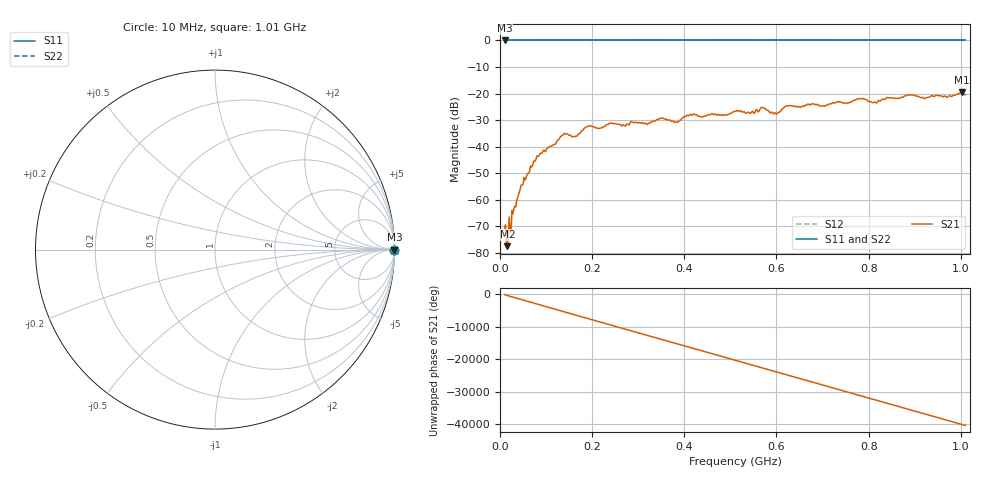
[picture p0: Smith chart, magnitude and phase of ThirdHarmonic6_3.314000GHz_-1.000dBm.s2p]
! 8/17/2025 10:22:04 AM
! C:\ANRITSUVNA\TEMP\TEMP.S2P
! CHANNEL.1
! TR.MEASUREMENT
! RAW.DATA
! RF.CORRECTION.OFF
! AVERAGING.OFF
! IF.BANDWIDTH: 5KHZ
! SWEEPTYPE:  FREQ.SWEEP(Linear)
! Reference Plane Port Info
! PORT:  PORT1  PORT2
! DISTANCE:  0  m  0  m
! TIME:  0  s  0  s
! PHASE.OFFSET:  0  deg.  0  deg.
! LOSS:  0  dB  0  dB
! REF.LOSS:  0  dB  0  dB
! REF.FREQ:  0  Hz  0  Hz
! Power Info
! POWER:  -20  dBm  -20  dBm
! EFF.POWER:  -20  dBm  -20  dBm
! SOURCE.ATTEN:  0  dB  0  dB
! TEST.ATTEN:  0  dB  0  dB
# GHZ S RI R 50.0
! FREQ.GHZ  S11RE  S11IM  S21RE  S21IM  S12RE  S12IM  S22RE  S22IM
!; PortSelection: Port_12
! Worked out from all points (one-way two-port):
!   501 points, 10 MHz to 1.01 GHz, reference 50 ohm
!   highest |S21| = -19.53 dB at 1.002 GHz (marker M1); lowest = -77.4 dB at 16 MHz (marker M2)
!   lowest |S11| = 0.0 dB at 10 MHz (marker M3)
!   |S11| at or under -10 dB: nowhere
!   |S22| runs from 0.0 to 0.0 dB; largest |S21 - S12| = 1.1
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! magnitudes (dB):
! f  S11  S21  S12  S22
! 10 MHz  0.0  -70.5  0.0  0.0
! 16 MHz  0.0  -77.4  0.0  0.0
! 20 MHz  0.0  -66.4  0.0  0.0
! 30 MHz  0.0  -63.5  0.0  0.0
! 48 MHz  0.0  -54.4  0.0  0.0
! 78 MHz  0.0  -44.8  0.0  0.0
! 136 MHz  0.0  -35.7  0.0  0.0
! 164 MHz  0.0  -36.1  0.0  0.0
! 178 MHz  0.0  -33.9  0.0  0.0
! 344 MHz  0.0  -29.7  0.0  0.0
! 382 MHz  0.0  -30.7  0.0  0.0
! 416 MHz  0.0  -28.1  0.0  0.0
! 510 MHz  0.0  -26.7  0.0  0.0
! 570 MHz  0.0  -25.3  0.0  0.0
! 598 MHz  0.0  -27.5  0.0  0.0
! 624 MHz  0.0  -24.6  0.0  0.0
! 678 MHz  0.0  -23.8  0.0  0.0
! 782 MHz  0.0  -21.9  0.0  0.0
! 814 MHz  0.0  -23.2  0.0  0.0
! 844 MHz  0.0  -21.6  0.0  0.0
! 1.002 GHz  0.0  -19.5  0.0  0.0
! 1.01 GHz  0.0  -20.4  0.0  0.0
